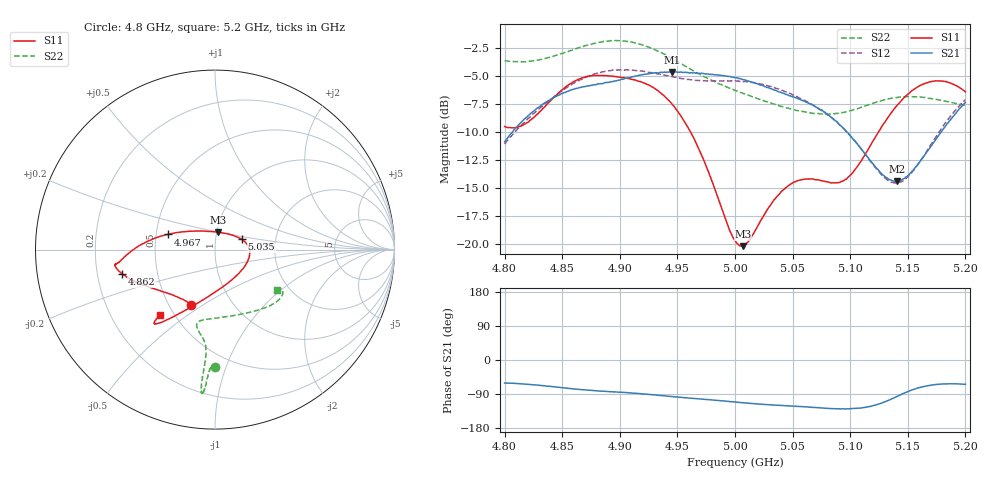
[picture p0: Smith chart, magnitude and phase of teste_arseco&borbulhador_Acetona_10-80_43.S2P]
! Network Analyzer HP8722D
! Hewlett-Packard
! Data name: Linha & Wilkinson
! Saver's name: Rodrigo Anjos
! Comments: Teste da utilização de aquisição
! continua pelo VNA HP8722D
! Time and date: 17/4/2025 14:43
!  Frequency  S11  S21  S12  S22
# HZ  S  MA R 50
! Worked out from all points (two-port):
!   401 points, 4.8 GHz to 5.2 GHz, reference 50 ohm
!   highest |S21| = -4.67 dB at 4.945 GHz (marker M1); lowest = -14.4 dB at 5.141 GHz (marker M2)
!   |S21| within 3 dB of the highest: 4.831 GHz to 5.068 GHz (236.7 MHz wide, 4.78 % of centre); 5.19746 GHz to end of sweep
!   lowest |S11| = -20.2 dB at 5.007 GHz (marker M3), VSWR 1.22, Z = 50.9 + j9.9 ohm
!   |S11| at or under -10 dB: 4.961 GHz to 5.125 GHz (163.3 MHz wide, 3.24 % of centre)
!   |S22| runs from -8.4 to -1.9 dB; largest |S21 - S12| = 0.88
!   S11 on the Smith chart (normalised r, x): 4.8 GHz: 0.65, -0.45; 4.862 GHz: 0.31, -0.12; 4.967 GHz: 0.58, +0.11; 5.035 GHz: 1.34, +0.16; 5.2 GHz: 0.42, -0.39
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4.8e9  0.3339 -113.1  0.2855 -60.8  0.2794 -174.9  0.6555 -89.9
4.819e9  0.346 -133.0  0.3668 -63.8  0.3562 -173.4  0.6505 -91.4
4.84e9  0.4346 -152.4  0.4407 -69.8  0.4414 -173.7  0.681 -92.8
4.862e9  0.5349 -165.4  0.4929 -76.8  0.5264 -176.5  0.7416 -93.7
4.867e9  0.5489 -167.4  0.5004 -78.2  0.5421 -177.4  0.7554 -93.9
4.9e9  0.5539 -171.9  0.5378 -85.0  0.5958 175.9  0.8035 -95.2
4.934e9  0.478 -177.9  0.5788 -93.4  0.5729 172.0  0.717 -95.7
4.945e9  0.4227 176.9  0.5844 -96.4  0.5573 172.0  0.6725 -95.4
4.967e9  0.2764 162.2  0.5772 -102.0  0.535 174.0  0.5776 -94.9
5e9  0.1038 103.2  0.551 -111.1  0.5323 176.4  0.4833 -99.1
5.007e9  0.09805 78.9  0.5394 -112.8  0.5282 176.2  0.4687 -100.8
5.035e9  0.1596 21.0  0.4846 -119.2  0.4943 174.9  0.4182 -103.4
5.05e9  0.1873 5.6  0.4531 -121.6  0.4621 174.3  0.3982 -99.7
5.067e9  0.1952 -12.5  0.4171 -124.8  0.4192 173.8  0.3826 -91.0
5.087e9  0.1876 -44.5  0.3546 -128.6  0.3528 173.8  0.3811 -75.9
5.097e9  0.1954 -65.2  0.316 -129.0  0.315 174.5  0.3884 -67.6
5.134e9  0.3743 -115.9  0.194 -105.5  0.191 -158.4  0.4441 -43.0
5.141e9  0.4164 -119.9  0.1908 -95.3  0.1877 -147.3  0.45 -39.9
5.152e9  0.4735 -124.4  0.2067 -80.8  0.2041 -130.2  0.4531 -36.0
5.17e9  0.5284 -128.5  0.2722 -66.5  0.2769 -112.6  0.4453 -31.8
5.184e9  0.5267 -129.8  0.3431 -63.1  0.3539 -107.2  0.4314 -30.9
5.2e9  0.476 -130.2  0.4265 -64.2  0.4394 -106.3  0.4146 -33.2
